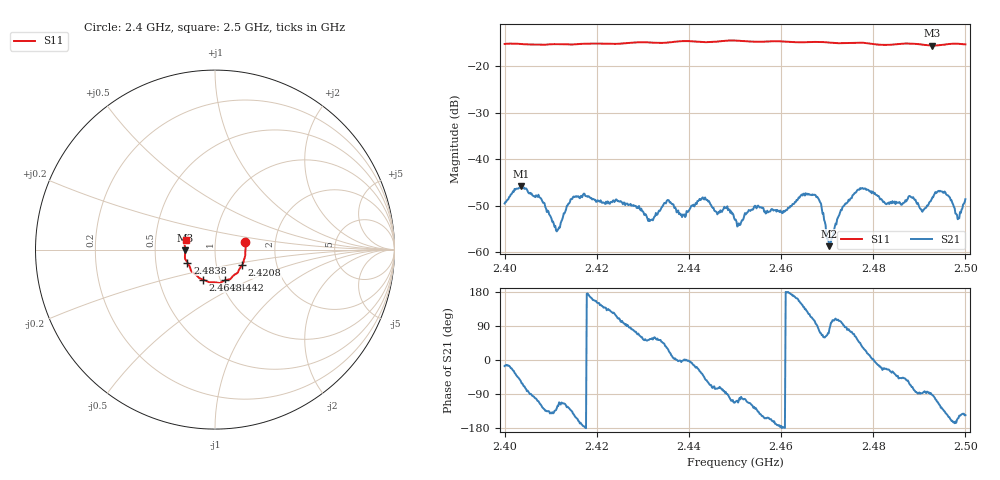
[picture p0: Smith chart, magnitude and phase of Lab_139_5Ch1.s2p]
# Hz S RI R 50
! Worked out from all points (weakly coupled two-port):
!   601 points, 2.4 GHz to 2.5 GHz, reference 50 ohm
!   highest |S21| = -45.87 dB at 2.4035 GHz (marker M1); lowest = -58.7 dB at 2.4705 GHz (marker M2)
!   lowest |S11| = -15.6 dB at 2.4928 GHz (marker M3), VSWR 1.40, Z = 35.8 - j0.365 ohm
!   |S11| at or under -10 dB: start of sweep to end of sweep
!   S12 and S22 are empty: the file has one direction only
!   S11 on the Smith chart (normalised r, x): 2.4 GHz: 1.40, +0.12; 2.4208 GHz: 1.33, -0.24; 2.4442 GHz: 1.05, -0.37; 2.4648 GHz: 0.83, -0.29; 2.4838 GHz: 0.73, -0.11; 2.5 GHz: 0.72, +0.08
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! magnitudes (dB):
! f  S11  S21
! 2.4 GHz  -15.3  -49.6
! 2.4035 GHz  -15.3  -45.9
! 2.4078 GHz  -15.4  -48.4
! 2.4113 GHz  -15.3  -55.6
! 2.4167 GHz  -15.2  -47.9
! 2.4208 GHz  -15.2  -48.9
! 2.4333 GHz  -15.0  -51.5
! 2.4442 GHz  -14.9  -49.1
! 2.45 GHz  -14.5  -53.1
! 2.4648 GHz  -14.9  -47.5
! 2.4667 GHz  -14.8  -47.8
! 2.4683 GHz  -14.8  -49.0
! 2.4705 GHz  -15.0  -58.7
! 2.4733 GHz  -15.1  -50.3
! 2.4768 GHz  -15.0  -46.6
! 2.4833 GHz  -15.5  -49.4
! 2.4838 GHz  -15.4  -49.2
! 2.4907 GHz  -15.4  -51.3
! 2.4928 GHz  -15.6  -48.2
! 2.4958 GHz  -15.3  -47.6
! 2.4983 GHz  -15.2  -52.9
! 2.5 GHz  -15.4  -48.6
